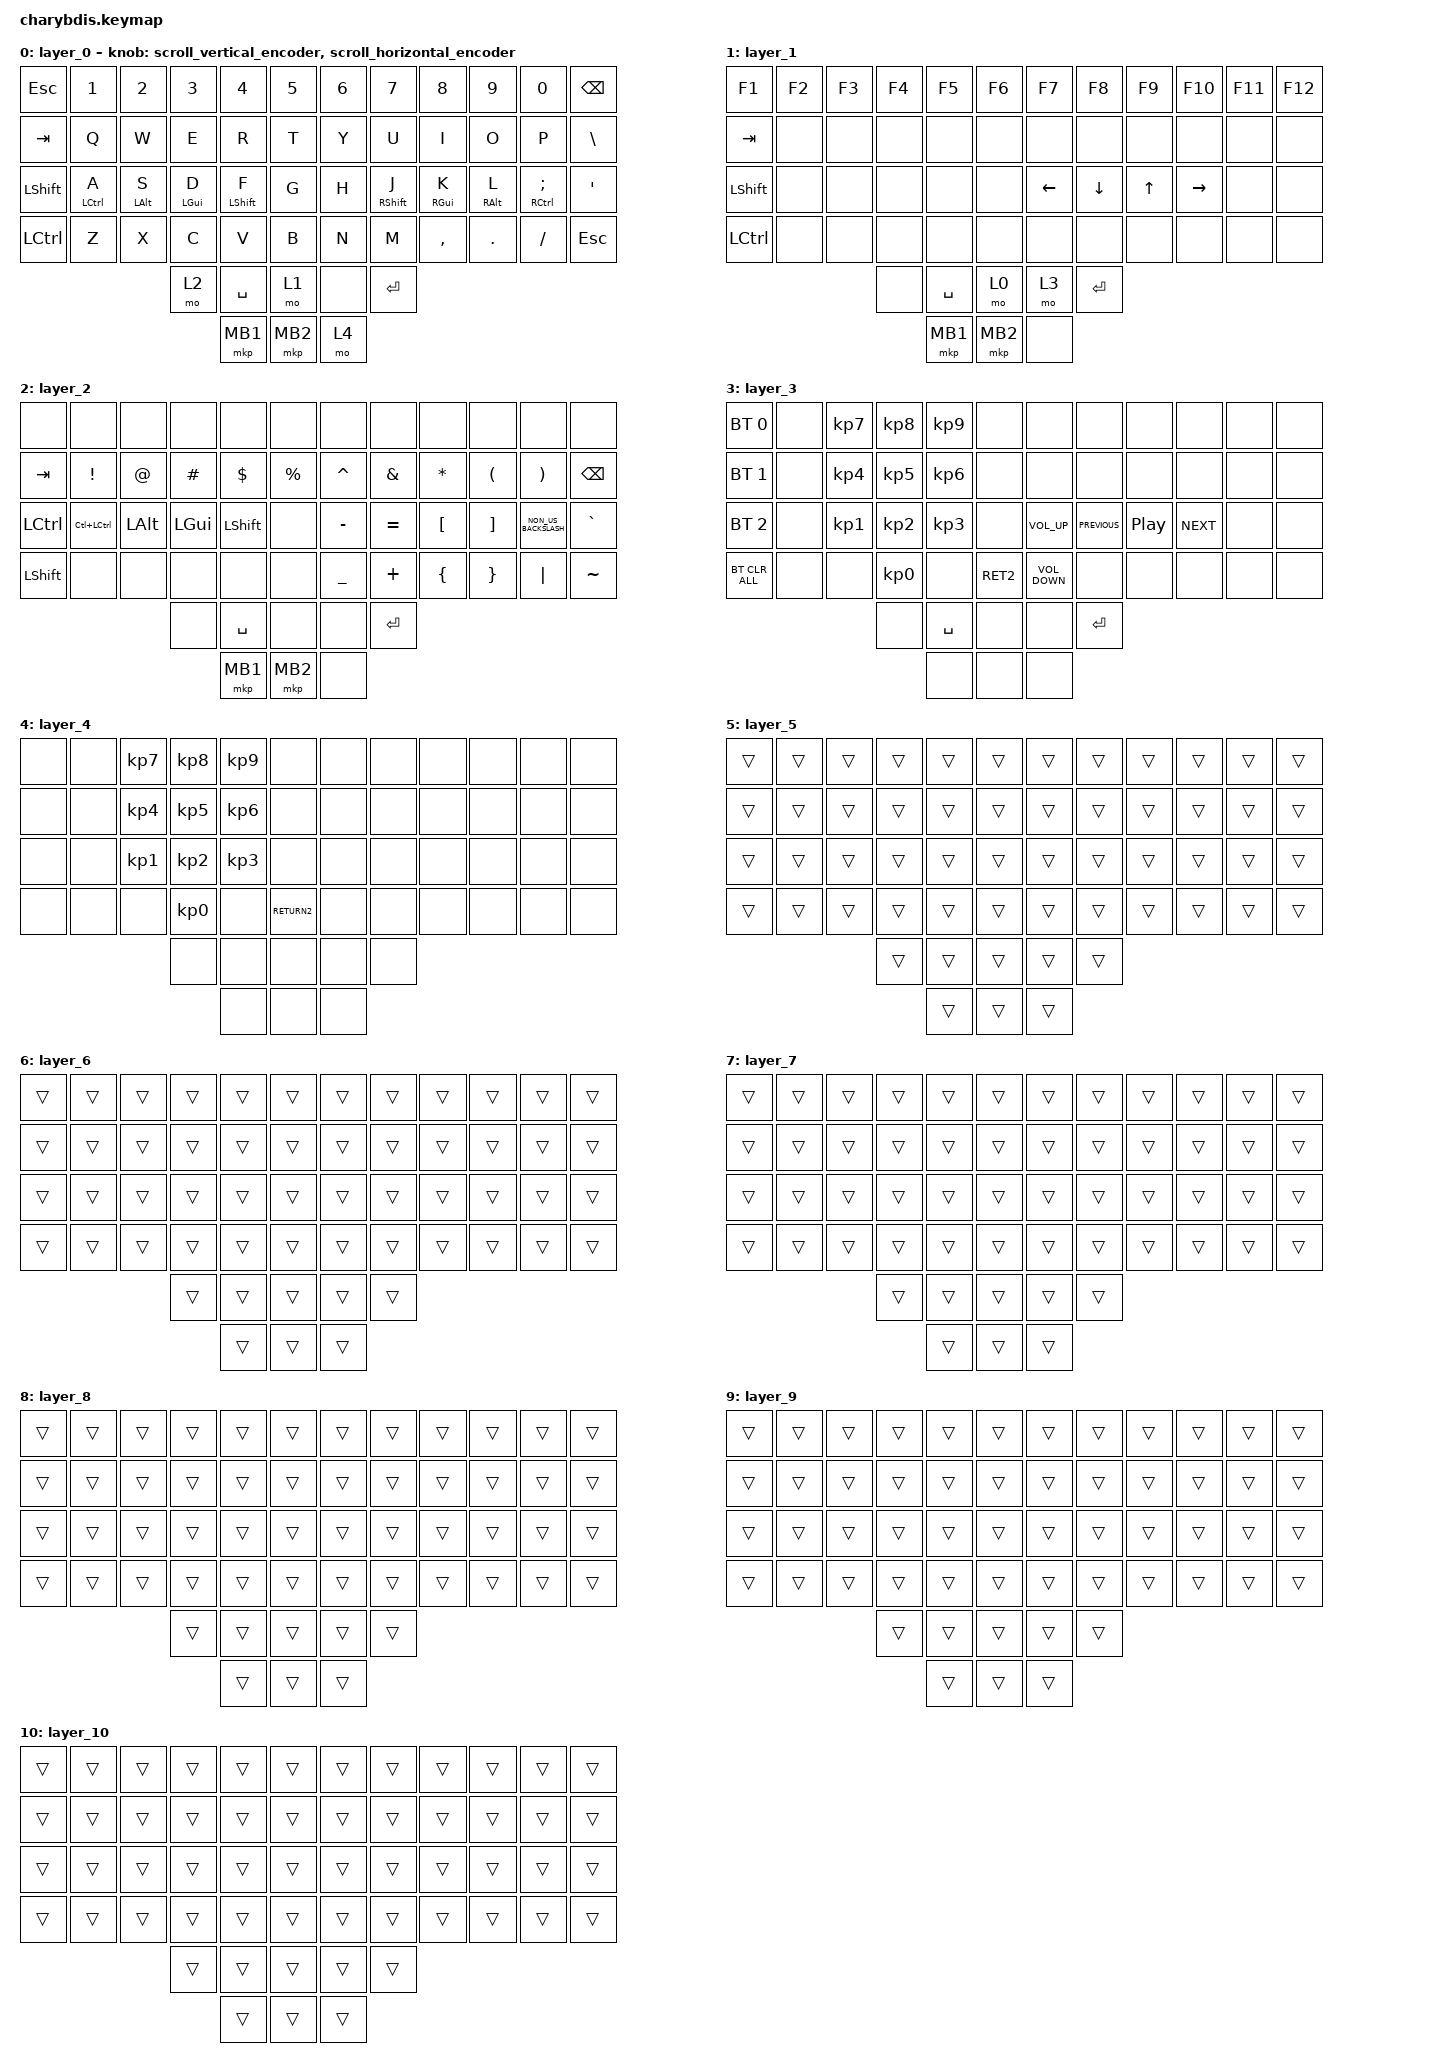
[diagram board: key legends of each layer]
#include <dt-bindings/zmk/mouse.h>
#include <input/processors.dtsi>
#include <zephyr/dt-bindings/input/input-event-codes.h>
#include <behaviors.dtsi>
#include <dt-bindings/zmk/bt.h>
#include <dt-bindings/zmk/keys.h>
#include <dt-bindings/zmk/pointing.h>
#include <dt-bindings/zmk/rgb.h>

#define ZMK_POINTING_DEFAULT_MOVE_VAL 1000 // 600
#define ZMK_POINTING_DEFAULT_SCRL_VAL 12   // 10

&lt {
    tapping-term-ms = <200>;
    flavor = "balanced";
    quick-tap-ms = <150>;
};

&mmv_input_listener { input-processors = <&zip_xy_scaler 2 1>; };

&msc_input_listener { input-processors = <&zip_scroll_scaler 2 1>; };

&msc {
    acceleration-exponent = <0>;      // 0
    time-to-max-speed-ms = <100>;       // 300
    delay-ms = <0>;                   // 0
};

&mmv {
    time-to-max-speed-ms = <500>;
    acceleration-exponent = <1>;
    trigger-period-ms = <16>;
};

&mt {
    require-prior-idle-ms = <150>;
    quick-tap-ms = <170>;
    tapping-term-ms = <280>;
    flavor = "balanced";
};

/ {
    // 上下滚动编码器行为

    scroll_vertical_encoder: scroll_vertical_encoder {
        compatible = "zmk,behavior-sensor-rotate";
        #sensor-binding-cells = <0>;
        bindings = <&msc SCRL_DOWN>, <&msc SCRL_UP>;

        tap-ms = <100>;
    };

    // 左右滚动编码器行为

    scroll_horizontal_encoder: scroll_horizontal_encoder {
        compatible = "zmk,behavior-sensor-rotate";
        #sensor-binding-cells = <0>;
        bindings = <&msc SCRL_LEFT>, <&msc SCRL_RIGHT>;

        tap-ms = <100>;
    };

    behaviors {
    };

    macros {
        To1_macro: To1_macro {
            compatible = "zmk,behavior-macro";
            label = "To1_macro";
            #binding-cells = <0>;
            bindings = <&rgb_ug RGB_EFF &rgb_ug RGB_COLOR_HSB(128,100,50) &to 1>;
        };

        To1_macro_A: To1_macro_A {
            compatible = "zmk,behavior-macro";
            label = "To1_macro_A";
            #binding-cells = <0>;
            bindings = <&rgb_ug RGB_COLOR_HSB(128,100,50) &to 1>;
        };

        To0_macro: To0_macro {
            compatible = "zmk,behavior-macro";
            label = "To0_macro";
            #binding-cells = <0>;
            bindings = <&rgb_ug RGB_EFR &to 0>;
        };

        To2_macro_A: To2_macro_A {
            compatible = "zmk,behavior-macro";
            label = "To2_macro_A";
            #binding-cells = <0>;
            bindings = <&rgb_ug RGB_COLOR_HSB(250,100,50) &to 2>;
        };

        To2_macro: To2_macro {
            compatible = "zmk,behavior-macro";
            label = "To2_macro";
            #binding-cells = <0>;
            bindings = <&rgb_ug RGB_EFF &rgb_ug RGB_COLOR_HSB(250,100,50) &to 2>;
        };
    };

    combos {
        compatible = "zmk,combos";

        Layer3 {
            bindings = <&mo 3>;
            key-positions = <50 51>;
        };

        right-to-left {
            bindings = <&mo 3>;
            key-positions = <51 50>;
        };
    };

    keymap {
        compatible = "zmk,keymap";

        layer_0 {
            bindings = <
&kp ESC         &kp N1       &kp N2      &kp N3          &kp N4       &kp N5      &kp N6  &kp N7        &kp N8           &kp N9           &kp N0                       &kp BACKSPACE
&kp TAB         &kp Q        &kp W       &kp E           &kp R        &kp T       &kp Y   &kp U         &kp I            &kp O            &kp P                        &kp BSLH
&kp LEFT_SHIFT  &mt LCTRL A  &mt LALT S  &mt LEFT_GUI D  &mt LSHFT F  &kp G       &kp H   &mt RSHIFT J  &mt RIGHT_GUI K  &mt RIGHT_ALT L  &mt RIGHT_CONTROL SEMICOLON  &kp SQT
&kp LCTRL       &kp Z        &kp X       &kp C           &kp V        &kp B       &kp N   &kp M         &kp COMMA        &kp PERIOD       &kp FSLH                     &kp ESCAPE
                                         &mo 2           &kp SPACE    &mo 1       &none   &kp ENTER
                                                         &mkp MB1     &mkp MB2    &mo 4
            >;

            sensor-bindings =
                <&scroll_vertical_encoder>,
                // 编码器1：上下滚动,,,,,,,,,,,,
                <&scroll_horizontal_encoder>;

            // 编码器2：左右滚动
        };

        layer_1 {
            bindings = <
&kp F1          &kp F2  &kp F3  &kp F4  &kp F5     &kp F6      &kp F7          &kp F8    &kp F9        &kp F10    &kp F11  &kp F12
&kp TAB         &none   &none   &none   &none      &none       &none           &none     &none         &none      &none    &none
&kp LEFT_SHIFT  &none   &none   &none   &none      &none       &kp LEFT_ARROW  &kp DOWN  &kp UP_ARROW  &kp RIGHT  &none    &none
&kp LCTRL       &none   &none   &none   &none      &none       &none           &none     &none         &none      &none    &none
                                &none   &kp SPACE  &mo 0       &mo 3           &kp RET
                                        &mkp MB1   &mkp MB2    &none
            >;
        };

        layer_2 {
            bindings = <
&none       &none                 &none         &none         &none           &none          &none           &none          &none             &none                 &none                  &none
&kp TAB     &kp EXCLAMATION       &kp AT_SIGN   &kp HASH      &kp DOLLAR      &kp PERCENT    &kp CARET       &kp AMPERSAND  &kp ASTERISK      &kp LEFT_PARENTHESIS  &kp RIGHT_PARENTHESIS  &kp BACKSPACE
&kp LCTRL   &kp LC(LEFT_CONTROL)  &kp LEFT_ALT  &kp LEFT_GUI  &kp LEFT_SHIFT  &none          &kp MINUS       &kp EQUAL      &kp LEFT_BRACKET  &kp RIGHT_BRACKET     &kp NON_US_BACKSLASH   &kp GRAVE
&kp LSHIFT  &none                 &none         &none         &none           &none          &kp UNDERSCORE  &kp PLUS       &kp LEFT_BRACE    &kp RIGHT_BRACE       &kp PIPE               &kp TILDE
                                                &none         &kp SPACE       &none          &none           &kp RET
                                                              &mkp MB1        &mkp MB2       &none
            >;
        };

        layer_3 {
            bindings = <
&bt BT_SEL 0    &none  &kp KP_NUMBER_7  &kp KP_NUMBER_8  &kp KP_NUMBER_9  &none       &none              &none           &none             &none       &none  &none
&bt BT_SEL 1    &none  &kp KP_NUMBER_4  &kp KP_NUMBER_5  &kp KP_NUMBER_6  &none       &none              &none           &none             &none       &none  &none
&bt BT_SEL 2    &none  &kp KP_NUMBER_1  &kp KP_NUMBER_2  &kp KP_NUMBER_3  &none       &kp K_VOLUME_UP    &kp C_PREVIOUS  &kp C_PLAY_PAUSE  &kp C_NEXT  &none  &none
&bt BT_CLR_ALL  &none  &none            &kp KP_NUMBER_0  &none            &kp RET2    &kp K_VOLUME_DOWN  &none           &none             &none       &none  &none
                                        &none            &kp SPACE        &none       &none              &kp RETURN
                                                         &none            &none       &none
            >;
        };

        layer_4 {
            bindings = <
&none  &none  &kp KP_NUMBER_7  &kp KP_NUMBER_8  &kp KP_NUMBER_9  &none          &none  &none  &none  &none  &none  &none
&none  &none  &kp KP_NUMBER_4  &kp KP_NUMBER_5  &kp KP_NUMBER_6  &none          &none  &none  &none  &none  &none  &none
&none  &none  &kp KP_NUMBER_1  &kp KP_NUMBER_2  &kp KP_NUMBER_3  &none          &none  &none  &none  &none  &none  &none
&none  &none  &none            &kp KP_N0        &none            &kp RETURN2    &none  &none  &none  &none  &none  &none
                               &none            &none            &none          &none  &none
                                                &none            &none          &none
            >;
        };

        layer_5 {
            bindings = <
&trans  &trans  &trans  &trans  &trans  &trans    &trans  &trans  &trans  &trans  &trans  &trans
&trans  &trans  &trans  &trans  &trans  &trans    &trans  &trans  &trans  &trans  &trans  &trans
&trans  &trans  &trans  &trans  &trans  &trans    &trans  &trans  &trans  &trans  &trans  &trans
&trans  &trans  &trans  &trans  &trans  &trans    &trans  &trans  &trans  &trans  &trans  &trans
                        &trans  &trans  &trans    &trans  &trans
                                &trans  &trans    &trans
            >;
        };

        layer_6 {
            bindings = <
&trans  &trans  &trans  &trans  &trans  &trans    &trans  &trans  &trans  &trans  &trans  &trans
&trans  &trans  &trans  &trans  &trans  &trans    &trans  &trans  &trans  &trans  &trans  &trans
&trans  &trans  &trans  &trans  &trans  &trans    &trans  &trans  &trans  &trans  &trans  &trans
&trans  &trans  &trans  &trans  &trans  &trans    &trans  &trans  &trans  &trans  &trans  &trans
                        &trans  &trans  &trans    &trans  &trans
                                &trans  &trans    &trans
            >;
        };

        layer_7 {
            bindings = <
&trans  &trans  &trans  &trans  &trans  &trans    &trans  &trans  &trans  &trans  &trans  &trans
&trans  &trans  &trans  &trans  &trans  &trans    &trans  &trans  &trans  &trans  &trans  &trans
&trans  &trans  &trans  &trans  &trans  &trans    &trans  &trans  &trans  &trans  &trans  &trans
&trans  &trans  &trans  &trans  &trans  &trans    &trans  &trans  &trans  &trans  &trans  &trans
                        &trans  &trans  &trans    &trans  &trans
                                &trans  &trans    &trans
            >;
        };

        layer_8 {
            bindings = <
&trans  &trans  &trans  &trans  &trans  &trans    &trans  &trans  &trans  &trans  &trans  &trans
&trans  &trans  &trans  &trans  &trans  &trans    &trans  &trans  &trans  &trans  &trans  &trans
&trans  &trans  &trans  &trans  &trans  &trans    &trans  &trans  &trans  &trans  &trans  &trans
&trans  &trans  &trans  &trans  &trans  &trans    &trans  &trans  &trans  &trans  &trans  &trans
                        &trans  &trans  &trans    &trans  &trans
                                &trans  &trans    &trans
            >;
        };

        layer_9 {
            bindings = <
&trans  &trans  &trans  &trans  &trans  &trans    &trans  &trans  &trans  &trans  &trans  &trans
&trans  &trans  &trans  &trans  &trans  &trans    &trans  &trans  &trans  &trans  &trans  &trans
&trans  &trans  &trans  &trans  &trans  &trans    &trans  &trans  &trans  &trans  &trans  &trans
&trans  &trans  &trans  &trans  &trans  &trans    &trans  &trans  &trans  &trans  &trans  &trans
                        &trans  &trans  &trans    &trans  &trans
                                &trans  &trans    &trans
            >;
        };

        layer_10 {
            bindings = <
&trans  &trans  &trans  &trans  &trans  &trans    &trans  &trans  &trans  &trans  &trans  &trans
&trans  &trans  &trans  &trans  &trans  &trans    &trans  &trans  &trans  &trans  &trans  &trans
&trans  &trans  &trans  &trans  &trans  &trans    &trans  &trans  &trans  &trans  &trans  &trans
&trans  &trans  &trans  &trans  &trans  &trans    &trans  &trans  &trans  &trans  &trans  &trans
                        &trans  &trans  &trans    &trans  &trans
                                &trans  &trans    &trans
            >;
        };

        /* layer_2 {
            bindings = <
&none  &none   &none    &none   &none         &none         &kp N1         &none         &none     &none  &none   &to 0
&none  &none   &none    &none   &none         &none         &none         &none          &rgb_ug RGB_BRD &rgb_ug RGB_BRI  &rgb_ug RGB_EFF   &rgb_ug RGB_TOG
&none  &none   &none    &none   &none         &none         &none         &mkp LCLK     &mkp RCLK  &none  &none   &none
&none  &none   &none    &none   &bt BT_NXT  &bt BT_CLR    &none         &none         &none     &none  &none   &none
                                   &none         &none         &none         &none         &none
                                                 &none         &none         &none
            >;
       
            
        };

       Mouse {
            bindings = <
&none        &none         &none         &none         &none      &none         &none       &none      &none         &none         &none         &none
&none        &bt BT_SEL 0  &bt BT_SEL 1  &bt BT_SEL 3  &none      &bt BT_CLR    &bt BT_CLR  &none      &bt BT_SEL 2  &bt BT_SEL 1  &bt BT_SEL 0  &none
&none        &trans        &trans        &mkp MCLK     &trans     &none         &none       &trans     &mkp MCLK     &trans        &trans        &none
&bootloader  &trans        &mkp RCLK     &mo 4         &mkp LCLK  &mo 5         &mo 5       &mkp LCLK  &mo 4         &mkp RCLK     &trans        &bootloader
                                         &mo 5         &mkp LCLK  &mkp RCLK     &mkp RCLK   &mkp LCLK
                                                       &none      &trans        &trans
            >;

            
        };

        layer_4 {
            bindings = <
&trans  &trans  &trans     &trans     &trans     &trans       &trans     &trans     &trans     &trans     &trans  &trans
&trans  &trans  &trans     &trans     &trans     &trans       &trans     &trans     &trans     &trans     &trans  &trans
&trans  &trans  &trans     &mkp MCLK  &trans     &trans       &trans     &trans     &mkp MCLK  &trans     &trans  &trans
&trans  &trans  &mkp RCLK  &trans     &mkp LCLK  &trans       &trans     &mkp LCLK  &trans     &mkp RCLK  &trans  &trans
                           &trans     &mkp LCLK  &mkp RCLK    &mkp RCLK  &mkp LCLK
                                      &trans     &trans       &trans
            >;
                
                
               
        };

        layer_5 {
            bindings = <
&trans  &trans  &trans     &trans     &trans     &trans       &trans     &trans     &trans     &trans     &trans  &trans
&trans  &trans  &trans     &trans     &trans     &trans       &trans     &trans     &trans     &trans     &trans  &trans
&trans  &trans  &trans     &mkp MCLK  &trans     &trans       &trans     &trans     &mkp MCLK  &trans     &trans  &trans
&trans  &trans  &mkp RCLK  &trans     &mkp LCLK  &trans       &trans     &mkp LCLK  &trans     &mkp RCLK  &trans  &trans
                           &trans     &mkp LCLK  &mkp RCLK    &mkp RCLK  &mkp LCLK
                                      &trans     &trans       &trans
            >;
                
                
        };*/
    };
};
